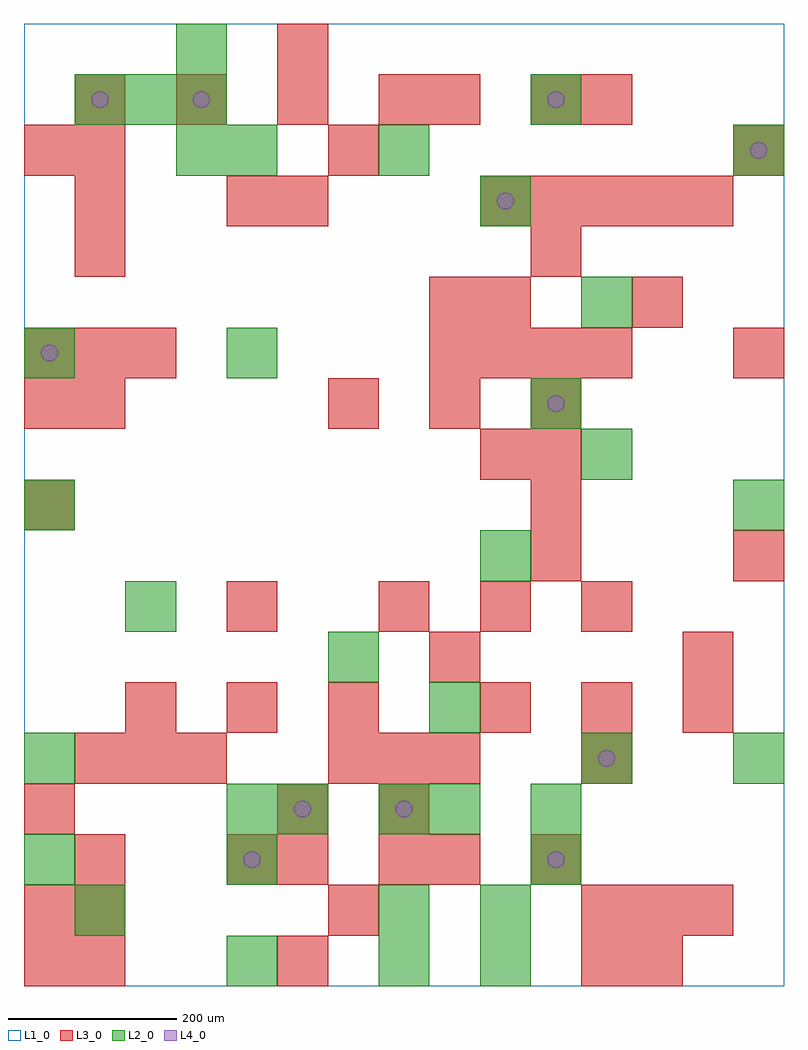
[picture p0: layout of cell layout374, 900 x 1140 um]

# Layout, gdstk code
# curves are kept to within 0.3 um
import gdstk
lib = gdstk.Library(unit=1e-6, precision=1e-09)
def R(c, l, rs):  # rectangles x0, y0, x1, y1
    for r in rs: c.add(gdstk.rectangle(r[:2], r[2:], *l))
def A(c, l, x, y, w, h, nx, ny, dx, dy):  # array of equal rectangles
    R(c, l, [(x+i*dx, y+j*dy, x+i*dx+w, y+j*dy+h) for i in range(nx) for j in range(ny)])
def P(c, l, *ps):  # polygons
    for p in ps: c.add(gdstk.Polygon(p, *l))
L1_0 = (1, 0)
L2_0 = (2, 0)
L3_0 = (3, 0)
L4_0 = (4, 0)

layout374 = lib.new_cell('layout374')
R(layout374, L1_0, [(0,0,900,1140)])
A(layout374, L2_0, 540, 60, 60, 60, 1, 3, 0, 420)
A(layout374, L2_0, 60, 1020, 60, 60, 3, 1, 60, 0)
R(layout374, L2_0, [(240,0,300,60), (420,0,480,60), (540,0,600,60), (60,60,120,120), (420,60,480,120), (0,120,60,180), (240,120,300,180), (600,120,660,180), (240,180,300,240), (300,180,360,240), (420,180,480,240), (480,180,540,240), (600,180,660,240), (0,240,60,300), (660,240,720,300), (840,240,900,300), (480,300,540,360), (360,360,420,420), (120,420,180,480), (0,540,60,600), (840,540,900,600), (660,600,720,660), (600,660,660,720), (0,720,60,780), (240,720,300,780), (660,780,720,840), (180,960,240,1020), (240,960,300,1020), (420,960,480,1020), (840,960,900,1020), (600,1020,660,1080), (180,1080,240,1140)])
A(layout374, L3_0, 60, 60, 60, 60, 3, 1, 300, 0)
A(layout374, L3_0, 60, 240, 60, 60, 3, 1, 60, 0)
A(layout374, L3_0, 360, 240, 60, 60, 3, 1, 60, 0)
A(layout374, L3_0, 120, 300, 60, 60, 3, 1, 120, 0)
A(layout374, L3_0, 540, 300, 60, 60, 3, 1, 120, 0)
A(layout374, L3_0, 420, 420, 60, 60, 3, 1, 120, 0)
A(layout374, L3_0, 600, 480, 60, 60, 1, 3, 0, 60)
A(layout374, L3_0, 840, 480, 60, 60, 1, 3, 0, 240)
A(layout374, L3_0, 360, 660, 60, 60, 3, 1, 120, 0)
A(layout374, L3_0, 0, 720, 60, 60, 3, 1, 60, 0)
A(layout374, L3_0, 480, 720, 60, 60, 4, 1, 60, 0)
A(layout374, L3_0, 60, 840, 60, 60, 1, 3, 0, 60)
A(layout374, L3_0, 540, 900, 60, 60, 5, 1, 60, 0)
A(layout374, L3_0, 60, 1020, 60, 60, 4, 1, 120, 0)
R(layout374, L3_0, [(0,0,60,60), (60,0,120,60), (300,0,360,60), (660,0,720,60), (720,0,780,60), (0,60,60,120), (720,60,780,120), (780,60,840,120), (60,120,120,180), (240,120,300,180), (300,120,360,180), (420,120,480,180), (480,120,540,180), (600,120,660,180), (0,180,60,240), (300,180,360,240), (420,180,480,240), (660,240,720,300), (480,360,540,420), (780,360,840,420), (240,420,300,480), (0,540,60,600), (540,600,600,660), (0,660,60,720), (60,660,120,720), (480,780,540,840), (540,780,600,840), (720,780,780,840), (600,840,660,900), (240,900,300,960), (300,900,360,960), (0,960,60,1020), (360,960,420,1020), (480,1020,540,1080), (600,1020,660,1080), (660,1020,720,1080), (300,1080,360,1140)])
P(layout374, L4_0, [(40,750),(39.239,753.827),(37.071,757.071),(33.827,759.239),(30,760),(26.173,759.239),(22.929,757.071),(20.761,753.827),(20,750),(20.761,746.173),(22.929,742.929),(26.173,740.761),(30,740),(33.827,740.761),(37.071,742.929),(39.239,746.173)],
  [(100,1050),(99.239,1053.827),(97.071,1057.071),(93.827,1059.239),(90,1060),(86.173,1059.239),(82.929,1057.071),(80.761,1053.827),(80,1050),(80.761,1046.173),(82.929,1042.929),(86.173,1040.761),(90,1040),(93.827,1040.761),(97.071,1042.929),(99.239,1046.173)],
  [(220,1050),(219.239,1053.827),(217.071,1057.071),(213.827,1059.239),(210,1060),(206.173,1059.239),(202.929,1057.071),(200.761,1053.827),(200,1050),(200.761,1046.173),(202.929,1042.929),(206.173,1040.761),(210,1040),(213.827,1040.761),(217.071,1042.929),(219.239,1046.173)],
  [(280,150),(279.239,153.827),(277.071,157.071),(273.827,159.239),(270,160),(266.173,159.239),(262.929,157.071),(260.761,153.827),(260,150),(260.761,146.173),(262.929,142.929),(266.173,140.761),(270,140),(273.827,140.761),(277.071,142.929),(279.239,146.173)],
  [(340,210),(339.239,213.827),(337.071,217.071),(333.827,219.239),(330,220),(326.173,219.239),(322.929,217.071),(320.761,213.827),(320,210),(320.761,206.173),(322.929,202.929),(326.173,200.761),(330,200),(333.827,200.761),(337.071,202.929),(339.239,206.173)],
  [(460,210),(459.239,213.827),(457.071,217.071),(453.827,219.239),(450,220),(446.173,219.239),(442.929,217.071),(440.761,213.827),(440,210),(440.761,206.173),(442.929,202.929),(446.173,200.761),(450,200),(453.827,200.761),(457.071,202.929),(459.239,206.173)],
  [(580,930),(579.239,933.827),(577.071,937.071),(573.827,939.239),(570,940),(566.173,939.239),(562.929,937.071),(560.761,933.827),(560,930),(560.761,926.173),(562.929,922.929),(566.173,920.761),(570,920),(573.827,920.761),(577.071,922.929),(579.239,926.173)],
  [(640,150),(639.239,153.827),(637.071,157.071),(633.827,159.239),(630,160),(626.173,159.239),(622.929,157.071),(620.761,153.827),(620,150),(620.761,146.173),(622.929,142.929),(626.173,140.761),(630,140),(633.827,140.761),(637.071,142.929),(639.239,146.173)],
  [(640,690),(639.239,693.827),(637.071,697.071),(633.827,699.239),(630,700),(626.173,699.239),(622.929,697.071),(620.761,693.827),(620,690),(620.761,686.173),(622.929,682.929),(626.173,680.761),(630,680),(633.827,680.761),(637.071,682.929),(639.239,686.173)],
  [(640,1050),(639.239,1053.827),(637.071,1057.071),(633.827,1059.239),(630,1060),(626.173,1059.239),(622.929,1057.071),(620.761,1053.827),(620,1050),(620.761,1046.173),(622.929,1042.929),(626.173,1040.761),(630,1040),(633.827,1040.761),(637.071,1042.929),(639.239,1046.173)],
  [(700,270),(699.239,273.827),(697.071,277.071),(693.827,279.239),(690,280),(686.173,279.239),(682.929,277.071),(680.761,273.827),(680,270),(680.761,266.173),(682.929,262.929),(686.173,260.761),(690,260),(693.827,260.761),(697.071,262.929),(699.239,266.173)],
  [(880,990),(879.239,993.827),(877.071,997.071),(873.827,999.239),(870,1000),(866.173,999.239),(862.929,997.071),(860.761,993.827),(860,990),(860.761,986.173),(862.929,982.929),(866.173,980.761),(870,980),(873.827,980.761),(877.071,982.929),(879.239,986.173)])

lib.write_gds('layout374.gds')
